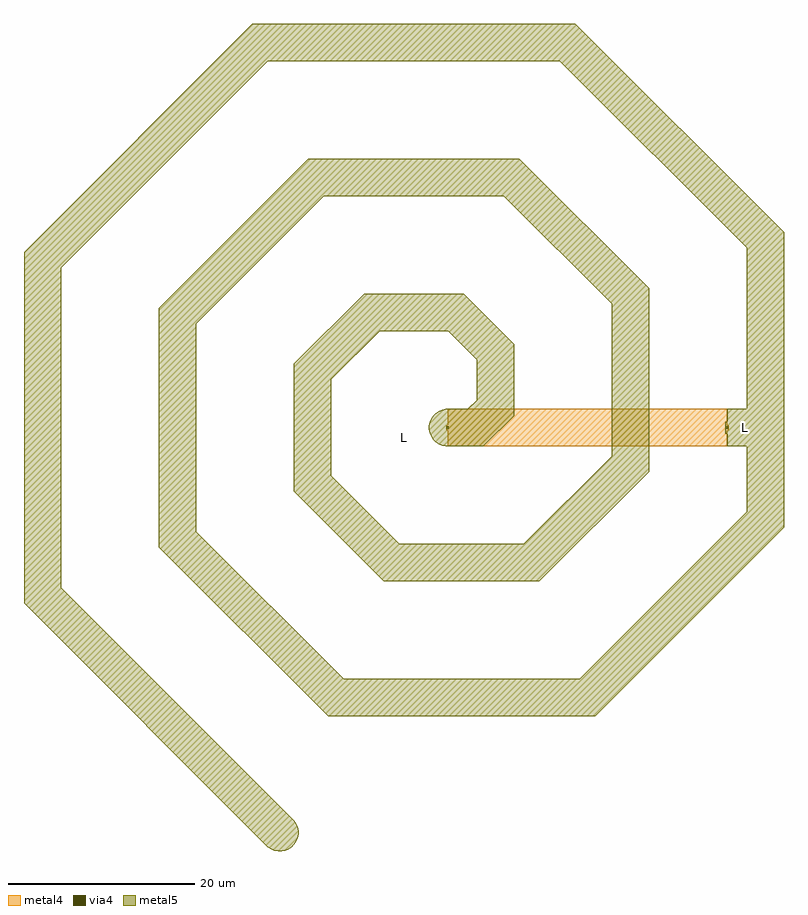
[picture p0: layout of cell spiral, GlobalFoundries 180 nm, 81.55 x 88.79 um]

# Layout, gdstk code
import gdstk
lib = gdstk.Library(unit=1e-6, precision=1e-09)
def R(c, l, rs):  # rectangles x0, y0, x1, y1
    for r in rs: c.add(gdstk.rectangle(r[:2], r[2:], *l))
def P(c, l, *ps):  # polygons
    for p in ps: c.add(gdstk.Polygon(p, *l))
via4 = (41, 0)
metal4 = (46, 0)
metal5 = (81, 0)

spiral = lib.new_cell('spiral')
R(spiral, via4, [(4.55,0.93,4.81,1.19), (34.55,0.93,34.81,1.19)])
R(spiral, metal4, [(4.68,-0.94,34.68,3.06), (4.54,0.8,4.82,1.32), (34.54,0.8,34.82,1.32)])
R(spiral, metal5, [(34.68,-0.94,38.68,3.06), (4.46,0.42,4.9,1.7), (34.46,0.42,34.9,1.7)])
P(spiral, metal5, [(-13.515,-44.395),(-13.905,-44.32),(-14.265,-44.165),(-14.595,-43.95),(-40.775,-17.77),(-40.775,19.89),(-16.27,44.395),(18.39,44.395),(40.775,22.01),(40.775,-9.65),(20.51,-29.91),(-8.15,-29.91),(-26.29,-11.77),(-26.29,13.89),(-10.27,29.91),(12.39,29.91),(26.29,16.01),(26.29,-3.65),(14.51,-15.425),(-2.15,-15.425),(-11.805,-5.77),(-11.805,7.89),(-4.27,15.425),(6.39,15.425),(11.805,10.01),(11.805,2.35),(8.505,-0.94),(4.485,-0.94),(4.095,-0.865),(3.735,-0.71),(3.405,-0.495),(3.125,-0.215),(2.91,0.115),(2.755,0.475),(2.68,0.865),(2.68,1.255),(2.755,1.645),(2.91,2.005),(3.125,2.335),(3.405,2.615),(3.735,2.83),(4.095,2.985),(4.485,3.06),(6.855,3.06),(7.805,4.01),(7.805,8.35),(4.73,11.425),(-2.61,11.425),(-7.805,6.23),(-7.805,-4.11),(-0.49,-11.425),(12.85,-11.425),(22.29,-1.99),(22.29,14.35),(10.73,25.91),(-8.61,25.91),(-22.29,12.23),(-22.29,-10.11),(-6.49,-25.91),(18.85,-25.91),(36.775,-7.99),(36.775,20.35),(16.73,40.395),(-14.61,40.395),(-36.775,18.23),(-36.775,-16.11),(-11.765,-41.12),(-11.55,-41.45),(-11.395,-41.81),(-11.32,-42.2),(-11.32,-42.59),(-11.395,-42.98),(-11.55,-43.34),(-11.765,-43.67),(-12.045,-43.95),(-12.375,-44.165),(-12.735,-44.32),(-13.125,-44.395)])
spiral.add(gdstk.Label('L', (0,0), layer=81, texttype=10))
spiral.add(gdstk.Label('L', (36.68,1.06), layer=81, texttype=10))

lib.write_gds('spiral.gds')
